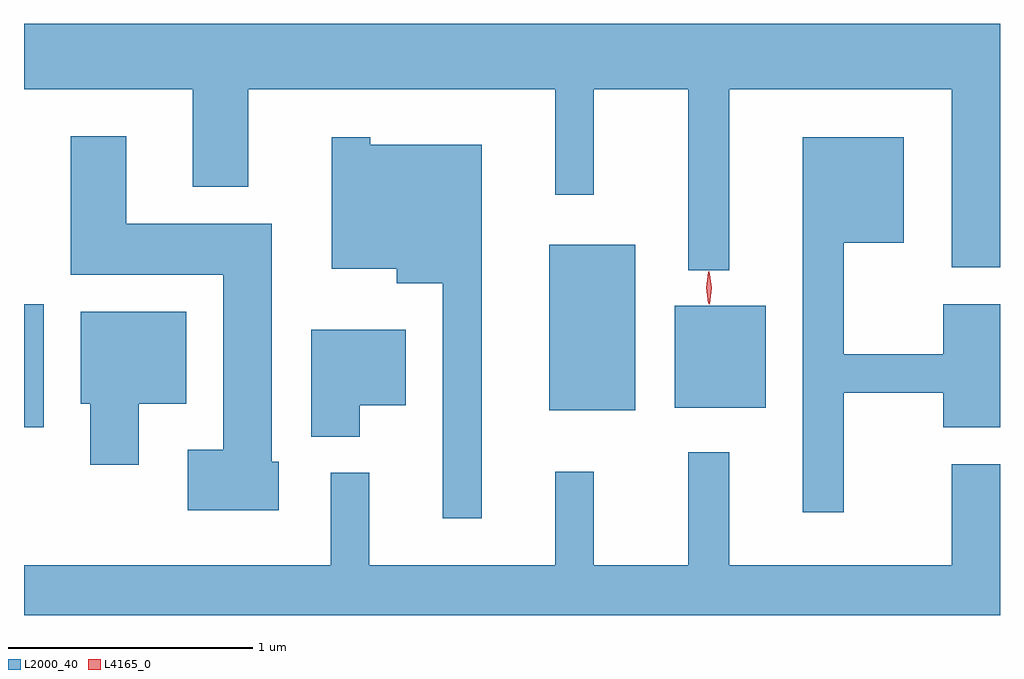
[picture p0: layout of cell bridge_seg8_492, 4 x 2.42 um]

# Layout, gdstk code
import gdstk
lib = gdstk.Library(unit=1e-6, precision=1e-09)
def R(c, l, rs):  # rectangles x0, y0, x1, y1
    for r in rs: c.add(gdstk.rectangle(r[:2], r[2:], *l))
def P(c, l, *ps):  # polygons
    for p in ps: c.add(gdstk.Polygon(p, *l))
L2000_40 = (2000, 40)
L4165_0 = (4165, 0)

bridge_seg8_492 = lib.new_cell('bridge_seg8_492')
R(bridge_seg8_492, L2000_40, [(360.629,1886.091,360.709,1886.594), (362.781,1886.161,363.134,1886.839), (363.296,1886.171,363.669,1886.589)])
P(bridge_seg8_492, L2000_40, [(360.629,1887.476),(361.321,1887.476),(361.321,1887.076),(361.549,1887.076),(361.549,1887.476),(362.806,1887.476),(362.806,1887.043),(362.964,1887.043),(362.964,1887.476),(363.351,1887.476),(363.351,1886.733),(363.519,1886.733),(363.519,1887.476),(364.431,1887.476),(364.431,1886.746),(364.629,1886.746),(364.629,1887.744),(360.629,1887.744)],
  [(361.674,1885.949),(361.644,1885.949),(361.644,1886.924),(361.049,1886.924),(361.049,1887.284),(360.821,1887.284),(360.821,1886.716),(361.446,1886.716),(361.446,1885.999),(361.301,1885.999),(361.301,1885.751),(361.674,1885.751)],
  [(362.504,1887.249),(362.049,1887.249),(362.049,1887.279),(361.891,1887.279),(361.891,1886.741),(362.156,1886.741),(362.156,1886.681),(362.346,1886.681),(362.346,1885.718),(362.504,1885.718)],
  [(363.989,1886.231),(364.396,1886.231),(364.396,1886.091),(364.629,1886.091),(364.629,1886.594),(364.396,1886.594),(364.396,1886.389),(363.989,1886.389),(363.989,1886.846),(364.234,1886.846),(364.234,1887.279),(363.821,1887.279),(363.821,1885.743),(363.989,1885.743)],
  [(361.099,1886.186),(361.294,1886.186),(361.294,1886.564),(360.861,1886.564),(360.861,1886.186),(360.901,1886.186),(360.901,1885.936),(361.099,1885.936)],
  [(362.004,1886.181),(362.194,1886.181),(362.194,1886.489),(361.806,1886.489),(361.806,1886.051),(362.004,1886.051)],
  [(362.806,1885.908),(362.806,1885.524),(362.044,1885.524),(362.044,1885.903),(361.886,1885.903),(361.886,1885.524),(360.629,1885.524),(360.629,1885.32),(364.629,1885.32),(364.629,1885.939),(364.431,1885.939),(364.431,1885.524),(363.519,1885.524),(363.519,1885.988),(363.351,1885.988),(363.351,1885.524),(362.964,1885.524),(362.964,1885.908)])
P(bridge_seg8_492, L4165_0, [(363.438,1886.594),(363.428,1886.662),(363.437,1886.73),(363.437,1886.73),(363.438,1886.73),(363.448,1886.662),(363.439,1886.594),(363.439,1886.594)],
  [(363.434,1886.598),(363.425,1886.662),(363.434,1886.727),(363.435,1886.727),(363.435,1886.727),(363.445,1886.662),(363.435,1886.598),(363.435,1886.598)])

lib.write_gds('bridge_seg8_492.gds')
